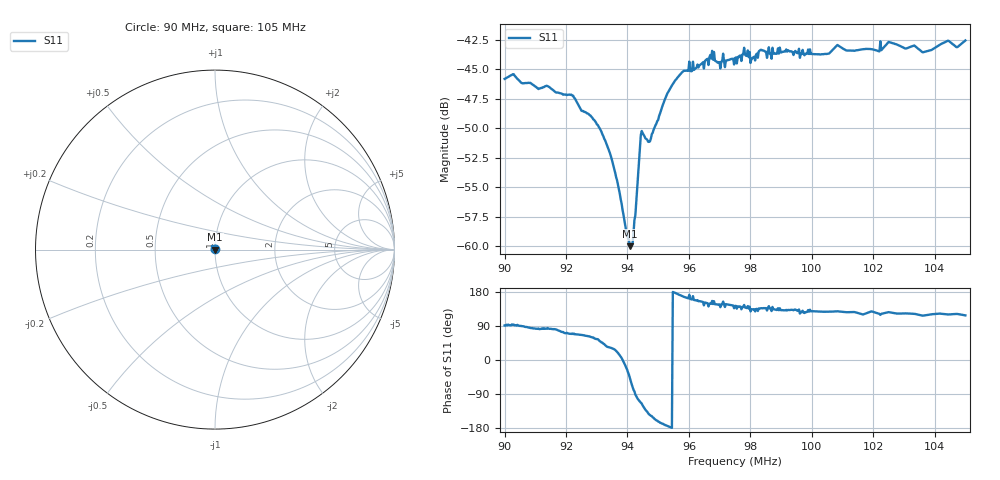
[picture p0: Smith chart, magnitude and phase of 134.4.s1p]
# HZ S RI R 50
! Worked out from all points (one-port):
!   505 points, 90 MHz to 105 MHz, reference 50 ohm
!   lowest |S11| = -60.0 dB at 94.08 MHz (marker M1), VSWR 1.00, Z = 50.1 - j0.074 ohm
!   |S11| at or under -10 dB: start of sweep to end of sweep
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9e7  -0.000103 0.00513
9.026786e7  -0.000234 0.00536
9.187501e7  0.00123 0.00425
9.223215e7  0.0016 0.00405
9.309525e7  0.00204 0.00242
9.345239e7  0.00206 0.00128
9.375001e7  0.00163 0.000352
9.407739e7  0.000677 -0.000739
9.413692e7  0.000447 -0.00092
9.419644e7  0.000223 -0.00112
9.440478e7  -0.000881 -0.00244
9.44643e7  -0.00131 -0.00279
9.473216e7  -0.00229 -0.00159
9.526787e7  -0.00432 -0.000542
9.562502e7  -0.00516 0.000501
9.675597e7  -0.00616 0.00275
9.696431e7  -0.00503 0.00332
9.750002e7  -0.00501 0.00379
9.836312e7  -0.00496 0.00466
9.937503e7  -0.00448 0.00493
1.00506e8  -0.00397 0.00521
1.008334e8  -0.00445 0.00558
1.0125e8  -0.004 0.00545
1.021429e8  -0.00369 0.00564
1.025298e8  -0.00429 0.00594
1.03125e8  -0.00375 0.00583
1.036608e8  -0.00309 0.00591
1.05e8  -0.00347 0.0066
